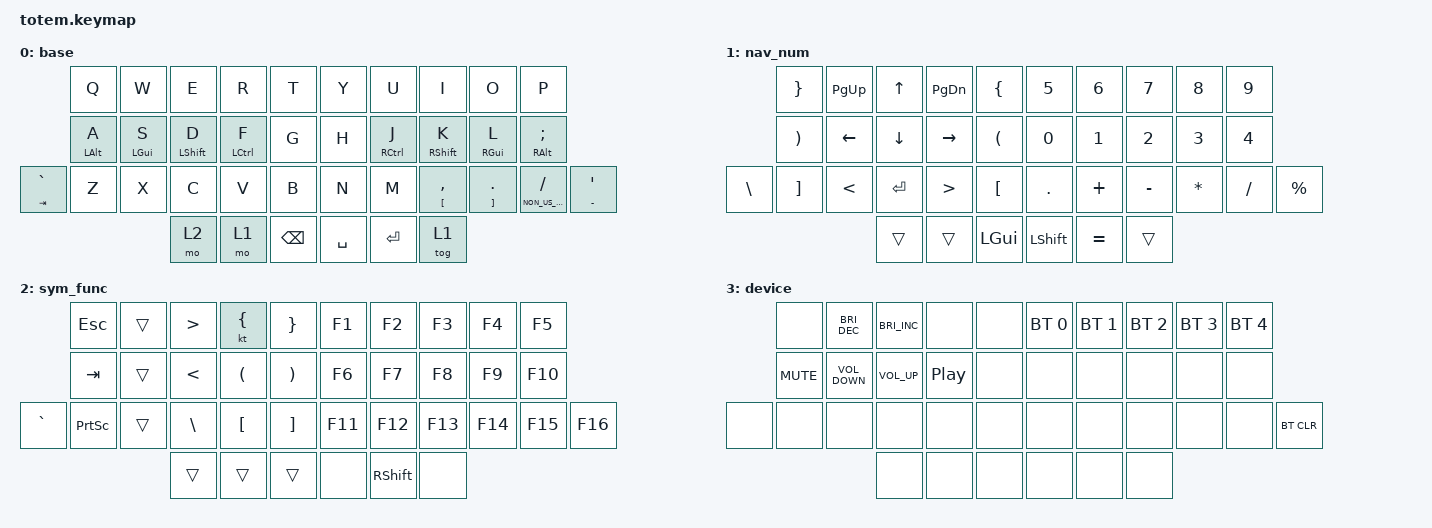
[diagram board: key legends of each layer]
//
//                                                        ▀▀▀▀▀     ▀▀▀▀▀          ▀▀█▀▀
//                                                        ▄▀▀▀▄  ▄  ▄▀▀▀▄  ▄  ▄▀▀▀▄  █  ▄▀▀▀▄
//                                                        █   █  █  █   █  █  █   █  █  █   █
//                                                         ▀▀▀   █   ▀▀▀   █   ▀▀▀   ▀   ▀▀▀
//                                                               █      ▄▄▄█▄▄▄    █   █  
//                                                               ▀      █  █  █     █▄█
//                                                             ▀▀▀▀▀    █  █  █      ▀
//                                                                      ▀  ▀  ▀
//
// ▄▄▄▄▄▄▄▄▄▄▄▄▄▄▄▄▄▄▄▄▄▄▄▄▄▄▄▄▄▄▄▄▄▄▄▄▄▄▄▄▄▄▄▄▄▄▄▄▄▄▄▄▄▄▄▄▄▄▄▄▄▄▄▄▄▄▄▄▄▄▄▄▄▄▄▄▄▄▄▄▄▄▄▄▄▄▄▄▄▄▄▄▄▄▄▄▄▄▄▄▄▄▄▄▄▄▄▄▄▄▄▄▄▄▄▄▄▄▄▄▄▄▄▄▄▄▄▄▄▄▄▄▄▄▄▄▄▄▄▄▄▄▄▄▄▄▄▄▄

#include <behaviors.dtsi>
#include <dt-bindings/zmk/bt.h>
#include <dt-bindings/zmk/keys.h>

/ {
    combos {
        compatible = "zmk,combos";

        backspace {
            bindings = <&kp BACKSPACE>;
            key-positions = <1 2 3>;
        };

        enter {
            bindings = <&kp ENTER>;
            key-positions = <6 7 8>;
        };

        escape {
            bindings = <&kp ESCAPE>;
            key-positions = <3 6>;
        };

        delete {
            bindings = <&kp DELETE>;
            key-positions = <22 23 24>;
        };
    };

    behaviors {
        ht: ht {
            compatible = "zmk,behavior-hold-tap";
            label = "HT";
            bindings = <&kp>, <&kp>;

            #binding-cells = <2>;
            tapping-term-ms = <200>;
            flavor = "tap-preferred";
            quick-tap-ms = <150>;
        };
    };

    keymap {
        compatible = "zmk,keymap";

        base {
            bindings = <
               &kp Q           &kp W           &kp E             &kp R        &kp T            &kp Y      &kp U        &kp I                   &kp O                  &kp P
               &ht LEFT_ALT A  &ht LEFT_GUI S  &ht LEFT_SHIFT D  &ht LCTRL F  &kp G            &kp H      &ht RCTRL J  &ht RIGHT_SHIFT K       &ht RIGHT_GUI L        &ht RIGHT_ALT SEMI
&ht TAB GRAVE  &kp Z           &kp X           &kp C             &kp V        &kp B            &kp N      &kp M        &ht LEFT_BRACKET COMMA  &ht RIGHT_BRACKET DOT  &ht NON_US_BACKSLASH SLASH  &ht MINUS SQT
                                               &mo 2             &mo 1        &kp BACKSPACE    &kp SPACE  &kp ENTER    &tog 1
            >;
        };

        nav_num {
            bindings = <
               &kp RIGHT_BRACE        &kp PG_UP      &kp UP     &kp PAGE_DOWN     &kp LEFT_BRACE          &kp N5          &kp N6     &kp N7     &kp N8    &kp N9
               &kp RIGHT_PARENTHESIS  &kp LEFT       &kp DOWN   &kp RIGHT         &kp LEFT_PARENTHESIS    &kp N0          &kp N1     &kp N2     &kp N3    &kp N4
&kp BACKSLASH  &kp RIGHT_BRACKET      &kp LESS_THAN  &kp ENTER  &kp GREATER_THAN  &kp LEFT_BRACKET        &kp PERIOD      &kp PLUS   &kp MINUS  &kp STAR  &kp FSLH  &kp PERCENT
                                                     &trans     &trans            &kp LEFT_GUI            &kp LEFT_SHIFT  &kp EQUAL  &trans
            >;
        };

        sym_func {
            bindings = <
           &kp ESC          &trans  &kp GREATER_THAN  &kt LEFT_BRACE        &kp RIGHT_BRACE          &kp F1   &kp F2           &kp F3   &kp F4   &kp F5
           &kp TAB          &trans  &kp LESS_THAN     &kp LEFT_PARENTHESIS  &kp RIGHT_PARENTHESIS    &kp F6   &kp F7           &kp F8   &kp F9   &kp F10
&kp GRAVE  &kp PRINTSCREEN  &trans  &kp BACKSLASH     &kp LEFT_BRACKET      &kp RIGHT_BRACKET        &kp F11  &kp F12          &kp F13  &kp F14  &kp F15  &kp F16
                                    &trans            &trans                &trans                   &none    &kp RIGHT_SHIFT  &none
            >;
        };

        device {
            bindings = <
       &none       &kp C_BRIGHTNESS_DEC  &kp C_BRIGHTNESS_INC  &none             &none    &bt BT_SEL 0  &bt BT_SEL 1  &bt BT_SEL 2  &bt BT_SEL 3  &bt BT_SEL 4
       &kp K_MUTE  &kp C_VOLUME_DOWN     &kp C_VOLUME_UP       &kp C_PLAY_PAUSE  &none    &none         &none         &none         &none         &none
&none  &none       &none                 &none                 &none             &none    &none         &none         &none         &none         &none         &bt BT_CLR
                                         &none                 &none             &none    &none         &none         &none
            >;
        };
    };

    conditional_layers {
        compatible = "zmk,conditional-layers";

        device {
            if-layers = <1 2>;
            then-layer = <3>;
        };
    };
};
